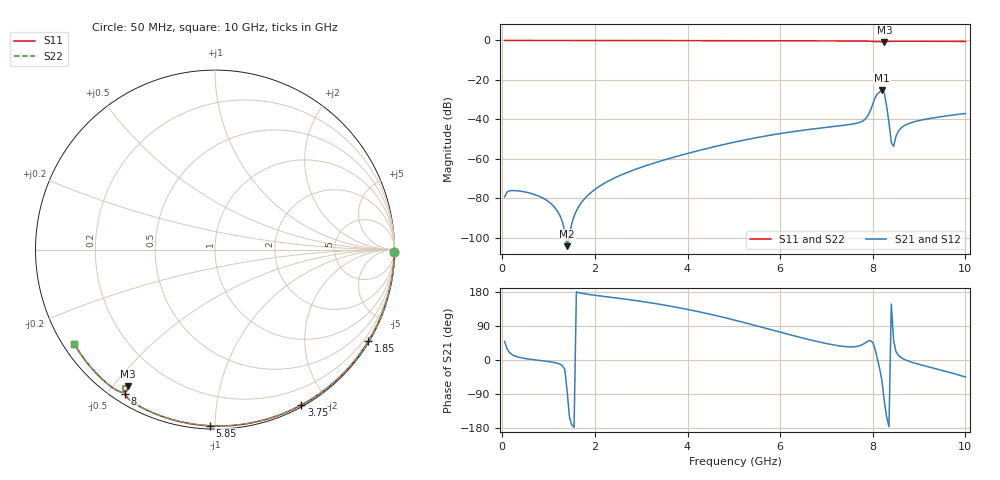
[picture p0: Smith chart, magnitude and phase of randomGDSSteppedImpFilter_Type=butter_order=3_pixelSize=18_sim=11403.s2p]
! freq	dB(S11)	phase(S11)	dB(S12)	phase(S12)
!  dB(S21)	phase(S21)	dB(S22)	phase(S22)
!S-par simulation data
#  GHz  S  DB  R 50
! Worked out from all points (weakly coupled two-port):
!   200 points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, 50 MHz to 10 GHz, reference 50 ohm
!   highest |S21| = -25.14 dB at 8.2 GHz (marker M1); lowest = -104.3 dB at 1.4 GHz (marker M2)
!   lowest |S11| = -0.9 dB at 8.25 GHz (marker M3), VSWR 19.31, Z = 3.37 - j27.4 ohm
!   |S11| at or under -10 dB: nowhere
!   |S22| runs from -0.9 to 0.0 dB; largest |S21 - S12| = 0
!   S11 on the Smith chart (normalised r, x): 50 MHz: open; 1.85 GHz: 0.03, -3.62; 3.75 GHz: 0.02, -1.70; 5.85 GHz: 0.02, -0.97; 8 GHz: 0.04, -0.55; 10 GHz: 0.03, -0.31
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0.05  -0.00 -0.9  -79.35 49.0  -79.35 49.0  -0.00 -0.9
0.25  -0.00 -4.3  -76.14 11.8  -76.14 11.8  -0.00 -4.3
1.4  -0.03 -23.5  -104.34 -81.8  -104.34 -81.8  -0.03 -23.5
1.75  -0.04 -29.2  -80.99 175.2  -80.99 175.2  -0.04 -29.2
1.85  -0.04 -30.9  -78.49 173.3  -78.49 173.3  -0.04 -30.9
2.45  -0.05 -40.6  -69.46 163.9  -69.46 163.9  -0.05 -40.6
3.4  -0.07 -55.6  -61.29 147.0  -61.29 147.0  -0.07 -55.6
3.75  -0.08 -60.9  -58.91 139.4  -58.91 139.4  -0.08 -60.9
5.05  -0.12 -80.2  -51.38 104.3  -51.38 104.3  -0.12 -80.2
5.85  -0.16 -91.6  -47.79 78.4  -47.79 78.4  -0.16 -91.6
6.7  -0.20 -103.3  -44.92 51.6  -44.92 51.6  -0.20 -103.3
7.75  -0.30 -118.0  -41.25 39.1  -41.25 39.1  -0.30 -118.0
7.9  -0.36 -120.4  -37.96 50.0  -37.96 50.0  -0.36 -120.4
8  -0.49 -122.0  -32.28 45.9  -32.28 45.9  -0.49 -122.0
8.2  -0.75 -124.0  -25.14 -56.3  -25.14 -56.3  -0.75 -124.0
8.25  -0.90 -122.4  -26.62 -109.0  -26.62 -109.0  -0.90 -122.4
8.35  -0.47 -123.0  -41.61 -175.8  -41.61 -175.8  -0.47 -123.0
8.4  -0.41 -124.0  -51.82 147.5  -51.82 147.5  -0.41 -124.0
8.45  -0.39 -124.9  -53.71 51.7  -53.71 51.7  -0.39 -124.9
8.55  -0.37 -126.5  -46.15 12.7  -46.15 12.7  -0.37 -126.6
8.75  -0.37 -129.5  -42.37 -2.0  -42.37 -2.0  -0.37 -129.5
10  -0.50 -146.0  -37.02 -44.8  -37.02 -44.8  -0.50 -146.0
